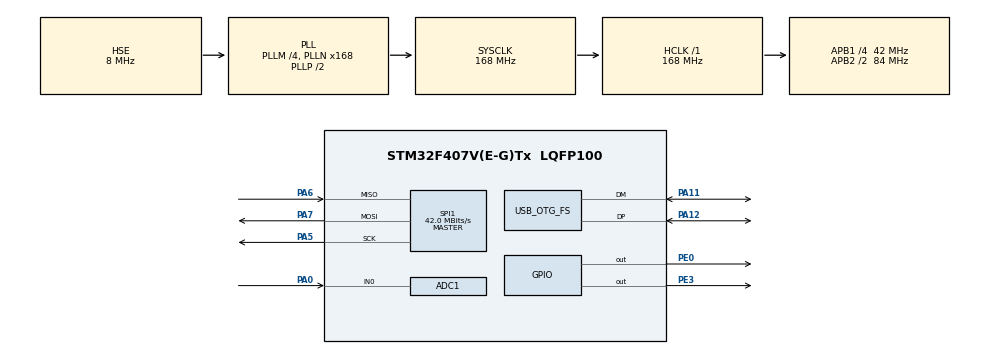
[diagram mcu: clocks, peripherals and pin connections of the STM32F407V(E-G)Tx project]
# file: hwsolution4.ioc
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ADC1.Channel-1\#ChannelRegularConversion=ADC_CHANNEL_0
ADC1.ContinuousConvMode=ENABLE
ADC1.NbrOfConversionFlag=1
ADC1.Rank-1\#ChannelRegularConversion=1
ADC1.SamplingTime-1\#ChannelRegularConversion=ADC_SAMPLETIME_3CYCLES
ADC1.master=1
Mcu.Family=STM32F4
Mcu.Name=STM32F407V(E-G)Tx
Mcu.Package=LQFP100
NVIC.OTG_FS_IRQn=true\:0\:0\:false\:false\:true\:false\:true\:true
NVIC.PriorityGroup=NVIC_PRIORITYGROUP_4
PA0-WKUP.Signal=ADCx_IN0
PA11.Mode=Device_Only
PA11.Signal=USB_OTG_FS_DM
PA12.Mode=Device_Only
PA12.Signal=USB_OTG_FS_DP
PA13.Mode=Trace_Asynchronous_SW
PA13.Signal=SYS_JTMS-SWDIO
PA14.Mode=Trace_Asynchronous_SW
PA14.Signal=SYS_JTCK-SWCLK
PA5.Mode=Full_Duplex_Master
PA5.Signal=SPI1_SCK
PA6.Mode=Full_Duplex_Master
PA6.Signal=SPI1_MISO
PA7.Mode=Full_Duplex_Master
PA7.Signal=SPI1_MOSI
PB3.Mode=Trace_Asynchronous_SW
PB3.Signal=SYS_JTDO-SWO
PE0.Signal=GPIO_Output
PE3.Signal=GPIO_Output
PH0-OSC_IN.Mode=HSE-External-Oscillator
PH0-OSC_IN.Signal=RCC_OSC_IN
PH1-OSC_OUT.Mode=HSE-External-Oscillator
PH1-OSC_OUT.Signal=RCC_OSC_OUT
ProjectManager.HeapSize=0x200
ProjectManager.StackSize=0x400
ProjectManager.TargetToolchain=STM32CubeIDE
RCC.48MHZClocksFreq_Value=48000000
RCC.AHBFreq_Value=168000000
RCC.APB1CLKDivider=RCC_HCLK_DIV4
RCC.APB1Freq_Value=42000000
RCC.APB1TimFreq_Value=84000000
RCC.APB2CLKDivider=RCC_HCLK_DIV2
RCC.APB2Freq_Value=84000000
RCC.APB2TimFreq_Value=168000000
RCC.CortexFreq_Value=168000000
RCC.HCLKFreq_Value=168000000
RCC.HSE_VALUE=8000000
RCC.HSI_VALUE=16000000
RCC.LSE_VALUE=32768
RCC.PLLM=4
RCC.PLLN=168
RCC.PLLQ=7
RCC.SYSCLKFreq_VALUE=168000000
RCC.SYSCLKSource=RCC_SYSCLKSOURCE_PLLCLK
RCC.VCOOutputFreq_Value=336000000
SH.ADCx_IN0.0=ADC1_IN0,IN0
SPI1.CalculateBaudRate=42.0 MBits/s
SPI1.Direction=SPI_DIRECTION_2LINES
SPI1.Mode=SPI_MODE_MASTER
SPI1.VirtualType=VM_MASTER
USB_DEVICE.CLASS_NAME_FS=CDC
USB_DEVICE.VirtualMode-CDC_FS=Cdc
USB_DEVICE.VirtualModeFS=Cdc_FS
USB_OTG_FS.VirtualMode=Device_Only
VP_CRC_VS_CRC.Mode=CRC_Activate
VP_USB_DEVICE_VS_USB_DEVICE_CDC_FS.Mode=CDC_FS
board=custom

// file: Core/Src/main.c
/* USER CODE BEGIN Header */
/**
  ******************************************************************************
  * @file           : main.c
  * @brief          : Main program body
  ******************************************************************************
  * @attention
  *
  * Copyright (c) 2022 STMicroelectronics.
  * All rights reserved.
  *
  * This software is licensed under terms that can be found in the LICENSE file
  * in the root directory of this software component.
  * If no LICENSE file comes with this software, it is provided AS-IS.
  *
  ******************************************************************************
  */
/* USER CODE END Header */
#include "main.h"
#include "usb_device.h"

/* USER CODE BEGIN Includes */
#include "usbd_cdc_if.h"
#include "string.h"
//#include "MY_LIS3DSH.h"
#include <stdio.h>

uint16_t adc_value;
float Vadc; //Vadc = 3.3 * adc_value / 4095
//char buffer[];
//char VAdcresult[];
/* USER CODE END Includes */

/* USER CODE BEGIN PTD */

//LIS3DSH_InitTypeDef myAccConfigDef;
/* USER CODE END PTD */

 ADC_HandleTypeDef hadc1;

CRC_HandleTypeDef hcrc;

SPI_HandleTypeDef hspi1;

void SystemClock_Config(void);
static void MX_GPIO_Init(void);
static void MX_SPI1_Init(void);
static void MX_CRC_Init(void);
static void MX_ADC1_Init(void);

/* USER CODE BEGIN 0 */
//char *data = "Hello from Ali Baki TÜRKÖZ\n";
void Read_ADC()
{
	HAL_ADC_Start(&hadc1);

	if(HAL_ADC_PollForConversion(&hadc1, 100000) == HAL_OK)
	{
		adc_value = HAL_ADC_GetValue(&hadc1);
		Vadc = 3.3 * adc_value / 4095;
	}
	HAL_ADC_Stop(&hadc1);
}
/* USER CODE END 0 */

int main(void)
{

  /* MCU Configuration--------------------------------------------------------*/

  /* Reset of all peripherals, Initializes the Flash interface and the Systick. */
  HAL_Init();

  /* Configure the system clock */
  SystemClock_Config();

  /* Initialize all configured peripherals */
  MX_GPIO_Init();
  MX_USB_DEVICE_Init();
  MX_SPI1_Init();
  MX_CRC_Init();
  MX_ADC1_Init();

  /* Infinite loop */
  /* USER CODE BEGIN WHILE */
  while (1)
  {
	  Read_ADC();
	            }
	         //  HAL_Delay(500);

    /* USER CODE END WHILE */

    /* USER CODE BEGIN 3 */
  	//  memset(buffer, 0, sizeof(buffer));
  	//  gcvt(VAdcresult, 9, buffer);
  	//  strcat(VAdcresult, buffer);
  	//  strcat(VAdcresult, end);
  	  Read_ADC();
  	  CDC_Transmit_FS((uint8_t *) adc_value, strlen (adc_value));
  	  HAL_Delay (1000);
  }//while
  /* USER CODE END 3 */
//}

void SystemClock_Config(void)
{
  RCC_OscInitTypeDef RCC_OscInitStruct = {0};
  RCC_ClkInitTypeDef RCC_ClkInitStruct = {0};

  /** Configure the main internal regulator output voltage
  */
  __HAL_RCC_PWR_CLK_ENABLE();
  __HAL_PWR_VOLTAGESCALING_CONFIG(PWR_REGULATOR_VOLTAGE_SCALE1);

  /** Initializes the RCC Oscillators according to the specified parameters
  * in the RCC_OscInitTypeDef structure.
  */
  RCC_OscInitStruct.OscillatorType = RCC_OSCILLATORTYPE_HSE;
  RCC_OscInitStruct.HSEState = RCC_HSE_ON;
  RCC_OscInitStruct.PLL.PLLState = RCC_PLL_ON;
  RCC_OscInitStruct.PLL.PLLSource = RCC_PLLSOURCE_HSE;
  RCC_OscInitStruct.PLL.PLLM = 4;
  RCC_OscInitStruct.PLL.PLLN = 168;
  RCC_OscInitStruct.PLL.PLLP = RCC_PLLP_DIV2;
  RCC_OscInitStruct.PLL.PLLQ = 7;
  if (HAL_RCC_OscConfig(&RCC_OscInitStruct) != HAL_OK)
  {
    Error_Handler();
  }

  /** Initializes the CPU, AHB and APB buses clocks
  */
  RCC_ClkInitStruct.ClockType = RCC_CLOCKTYPE_HCLK|RCC_CLOCKTYPE_SYSCLK
                              |RCC_CLOCKTYPE_PCLK1|RCC_CLOCKTYPE_PCLK2;
  RCC_ClkInitStruct.SYSCLKSource = RCC_SYSCLKSOURCE_PLLCLK;
  RCC_ClkInitStruct.AHBCLKDivider = RCC_SYSCLK_DIV1;
  RCC_ClkInitStruct.APB1CLKDivider = RCC_HCLK_DIV4;
  RCC_ClkInitStruct.APB2CLKDivider = RCC_HCLK_DIV2;

  if (HAL_RCC_ClockConfig(&RCC_ClkInitStruct, FLASH_LATENCY_5) != HAL_OK)
  {
    Error_Handler();
  }
}

static void MX_ADC1_Init(void)
{

  ADC_ChannelConfTypeDef sConfig = {0};

  /** Configure the global features of the ADC (Clock, Resolution, Data Alignment and number of conversion)
  */
  hadc1.Instance = ADC1;
  hadc1.Init.ClockPrescaler = ADC_CLOCK_SYNC_PCLK_DIV4;
  hadc1.Init.Resolution = ADC_RESOLUTION_12B;
  hadc1.Init.ScanConvMode = DISABLE;
  hadc1.Init.ContinuousConvMode = ENABLE;
  hadc1.Init.DiscontinuousConvMode = DISABLE;
  hadc1.Init.ExternalTrigConvEdge = ADC_EXTERNALTRIGCONVEDGE_NONE;
  hadc1.Init.ExternalTrigConv = ADC_SOFTWARE_START;
  hadc1.Init.DataAlign = ADC_DATAALIGN_RIGHT;
  hadc1.Init.NbrOfConversion = 1;
  hadc1.Init.DMAContinuousRequests = DISABLE;
  hadc1.Init.EOCSelection = ADC_EOC_SINGLE_CONV;
  if (HAL_ADC_Init(&hadc1) != HAL_OK)
  {
    Error_Handler();
  }

  /** Configure for the selected ADC regular channel its corresponding rank in the sequencer and its sample time.
  */
  sConfig.Channel = ADC_CHANNEL_0;
  sConfig.Rank = 1;
  sConfig.SamplingTime = ADC_SAMPLETIME_3CYCLES;
  if (HAL_ADC_ConfigChannel(&hadc1, &sConfig) != HAL_OK)
  {
    Error_Handler();
  }

}

static void MX_CRC_Init(void)
{

  hcrc.Instance = CRC;
  if (HAL_CRC_Init(&hcrc) != HAL_OK)
  {
    Error_Handler();
  }

}

static void MX_SPI1_Init(void)
{

  /* SPI1 parameter configuration*/
  hspi1.Instance = SPI1;
  hspi1.Init.Mode = SPI_MODE_MASTER;
  hspi1.Init.Direction = SPI_DIRECTION_2LINES;
  hspi1.Init.DataSize = SPI_DATASIZE_8BIT;
  hspi1.Init.CLKPolarity = SPI_POLARITY_LOW;
  hspi1.Init.CLKPhase = SPI_PHASE_1EDGE;
  hspi1.Init.NSS = SPI_NSS_SOFT;
  hspi1.Init.BaudRatePrescaler = SPI_BAUDRATEPRESCALER_2;
  hspi1.Init.FirstBit = SPI_FIRSTBIT_MSB;
  hspi1.Init.TIMode = SPI_TIMODE_DISABLE;
  hspi1.Init.CRCCalculation = SPI_CRCCALCULATION_DISABLE;
  hspi1.Init.CRCPolynomial = 10;
  if (HAL_SPI_Init(&hspi1) != HAL_OK)
  {
    Error_Handler();
  }

}

static void MX_GPIO_Init(void)
{
  GPIO_InitTypeDef GPIO_InitStruct = {0};

  /* GPIO Ports Clock Enable */
  __HAL_RCC_GPIOE_CLK_ENABLE();
  __HAL_RCC_GPIOH_CLK_ENABLE();
  __HAL_RCC_GPIOA_CLK_ENABLE();
  __HAL_RCC_GPIOB_CLK_ENABLE();

  /*Configure GPIO pin Output Level */
  HAL_GPIO_WritePin(GPIOE, GPIO_PIN_3|GPIO_PIN_0, GPIO_PIN_RESET);

  /*Configure GPIO pins : PE3 PE0 */
  GPIO_InitStruct.Pin = GPIO_PIN_3|GPIO_PIN_0;
  GPIO_InitStruct.Mode = GPIO_MODE_OUTPUT_PP;
  GPIO_InitStruct.Pull = GPIO_NOPULL;
  GPIO_InitStruct.Speed = GPIO_SPEED_FREQ_LOW;
  HAL_GPIO_Init(GPIOE, &GPIO_InitStruct);

}

void Error_Handler(void)
{
  __disable_irq();
  while (1)
  {
  }
}
